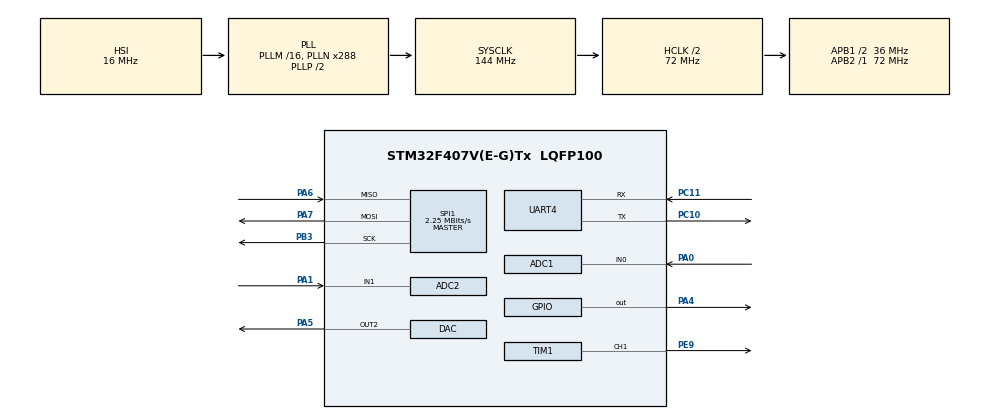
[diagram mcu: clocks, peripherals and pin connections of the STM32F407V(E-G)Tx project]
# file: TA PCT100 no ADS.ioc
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ADC1.Channel-0\#ChannelRegularConversion=ADC_CHANNEL_0
ADC1.ClockPrescaler=ADC_CLOCK_SYNC_PCLK_DIV4
ADC1.ContinuousConvMode=ENABLE
ADC1.NbrOfConversion=1
ADC1.NbrOfConversionFlag=1
ADC1.Rank-0\#ChannelRegularConversion=1
ADC1.SamplingTime-0\#ChannelRegularConversion=ADC_SAMPLETIME_3CYCLES
ADC1.ScanConvMode=ENABLE
ADC1.master=1
ADC2.Channel-1\#ChannelRegularConversion=ADC_CHANNEL_1
ADC2.ClockPrescaler=ADC_CLOCK_SYNC_PCLK_DIV4
ADC2.NbrOfConversionFlag=1
ADC2.Rank-1\#ChannelRegularConversion=1
ADC2.SamplingTime-1\#ChannelRegularConversion=ADC_SAMPLETIME_3CYCLES
ADC2.ScanConvMode=ENABLE
Dma.ADC1.0.Direction=DMA_PERIPH_TO_MEMORY
Dma.ADC1.0.FIFOMode=DMA_FIFOMODE_DISABLE
Dma.ADC1.0.Instance=DMA2_Stream0
Dma.ADC1.0.MemDataAlignment=DMA_MDATAALIGN_HALFWORD
Dma.ADC1.0.MemInc=DMA_MINC_ENABLE
Dma.ADC1.0.Mode=DMA_CIRCULAR
Dma.ADC1.0.PeriphDataAlignment=DMA_PDATAALIGN_HALFWORD
Dma.ADC1.0.PeriphInc=DMA_PINC_DISABLE
Dma.ADC1.0.Priority=DMA_PRIORITY_LOW
Dma.Request0=ADC1
Mcu.Family=STM32F4
Mcu.Name=STM32F407V(E-G)Tx
Mcu.Package=LQFP100
NVIC.DMA2_Stream0_IRQn=true\:0\:0\:false\:false\:true\:false\:true
NVIC.PriorityGroup=NVIC_PRIORITYGROUP_4
PA0-WKUP.Signal=ADCx_IN0
PA1.Signal=ADCx_IN1
PA13.Mode=Serial_Wire
PA13.Signal=SYS_JTMS-SWDIO
PA14.Mode=Serial_Wire
PA14.Signal=SYS_JTCK-SWCLK
PA4.GPIO_PuPd=GPIO_PULLDOWN
PA4.Signal=GPIO_Output
PA5.Signal=COMP_DAC2_group
PA6.GPIO_PuPd=GPIO_PULLDOWN
PA6.Mode=Full_Duplex_Master
PA6.Signal=SPI1_MISO
PA7.GPIO_PuPd=GPIO_PULLDOWN
PA7.Mode=Full_Duplex_Master
PA7.Signal=SPI1_MOSI
PB3.GPIO_PuPd=GPIO_PULLDOWN
PB3.Mode=Full_Duplex_Master
PB3.Signal=SPI1_SCK
PC10.Mode=Asynchronous
PC10.Signal=UART4_TX
PC11.Mode=Asynchronous
PC11.Signal=UART4_RX
PE9.Signal=S_TIM1_CH1
PH0-OSC_IN.Mode=HSE-External-Oscillator
PH0-OSC_IN.Signal=RCC_OSC_IN
PH1-OSC_OUT.Mode=HSE-External-Oscillator
PH1-OSC_OUT.Signal=RCC_OSC_OUT
ProjectManager.HeapSize=0x200
ProjectManager.StackSize=0x400
ProjectManager.TargetToolchain=STM32CubeIDE
RCC.48MHZClocksFreq_Value=72000000
RCC.AHBCLKDivider=RCC_SYSCLK_DIV2
RCC.AHBFreq_Value=72000000
RCC.APB1CLKDivider=RCC_HCLK_DIV2
RCC.APB1Freq_Value=36000000
RCC.APB1TimFreq_Value=72000000
RCC.APB2Freq_Value=72000000
RCC.APB2TimFreq_Value=72000000
RCC.CortexFreq_Value=72000000
RCC.HCLKFreq_Value=72000000
RCC.HSE_VALUE=25000000
RCC.HSI_VALUE=16000000
RCC.LSE_VALUE=32768
RCC.PLLN=288
RCC.SYSCLKFreq_VALUE=144000000
RCC.SYSCLKSource=RCC_SYSCLKSOURCE_PLLCLK
RCC.VCOOutputFreq_Value=288000000
SH.ADCx_IN0.0=ADC1_IN0,IN0
SH.ADCx_IN1.0=ADC2_IN1,IN1
SH.COMP_DAC2_group.0=DAC_OUT2,DAC_OUT2
SH.S_TIM1_CH1.0=TIM1_CH1,PWM Generation1 CH1
SPI1.BaudRatePrescaler=SPI_BAUDRATEPRESCALER_32
SPI1.CalculateBaudRate=2.25 MBits/s
SPI1.Direction=SPI_DIRECTION_2LINES
SPI1.Mode=SPI_MODE_MASTER
SPI1.VirtualType=VM_MASTER
TIM1.AutoReloadPreload=TIM_AUTORELOAD_PRELOAD_DISABLE
TIM1.Channel-PWM\ Generation1\ CH1=TIM_CHANNEL_1
TIM1.ClockDivision=TIM_CLOCKDIVISION_DIV1
TIM1.OC1Preload_PWM=ENABLE
TIM1.Period=999
TIM1.Prescaler=71
TIM1.Pulse-PWM\ Generation1\ CH1=500
TIM1.RepetitionCounter=3
UART4.VirtualMode=Asynchronous
VP_FATFS_VS_Generic.Mode=User_defined
VP_TIM1_VS_ClockSourceINT.Mode=Internal
board=custom

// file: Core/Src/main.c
/* USER CODE BEGIN Header */
/**
  ******************************************************************************
  * @file           : main.c
  * @brief          : Main program body
  ******************************************************************************
  * @attention
  *
  * Copyright (c) 2023 STMicroelectronics.
  * All rights reserved.
  *
  * This software is licensed under terms that can be found in the LICENSE file
  * in the root directory of this software component.
  * If no LICENSE file comes with this software, it is provided AS-IS.
  *
  ******************************************************************************
  */
/* USER CODE END Header */
#include "main.h"
#include "fatfs.h"

/* USER CODE BEGIN Includes */
#include "stm32f4xx_hal.h"
#include "fatfs_sd.h"
#include "string.h"
#include "stdio.h"

//FATFS fs;
//FIL fil;
//SPI_HandleTypeDef hspi1;
/* USER CODE END Includes */

ADC_HandleTypeDef hadc1;
ADC_HandleTypeDef hadc2;
DMA_HandleTypeDef hdma_adc1;

DAC_HandleTypeDef hdac;

SPI_HandleTypeDef hspi1;

TIM_HandleTypeDef htim1;

UART_HandleTypeDef huart4;

void SystemClock_Config(void);
static void MX_GPIO_Init(void);
static void MX_DMA_Init(void);
static void MX_ADC1_Init(void);
static void MX_ADC2_Init(void);
static void MX_DAC_Init(void);
static void MX_TIM1_Init(void);
static void MX_SPI1_Init(void);
static void MX_UART4_Init(void);

/* USER CODE BEGIN 0 */

FATFS fs;  // file system
FIL fil; // File
FILINFO fno;
FRESULT fresult;  // result
UINT br, bw;  // File read/write count

/**** capacity related *****/
FATFS *pfs;
DWORD fre_clust;
uint32_t total, free_space;

#define BUFFER_SIZE 128
char buffer[BUFFER_SIZE];  // to store strings..

int i=0;

int bufsize (char *buf)
{
	int i=0;
	while (*buf++ != '\0') i++;
	return i;
}

void clear_buffer (void)
{
	for (int i=0; i<BUFFER_SIZE; i++) buffer[i] = '\0';
}

void send_uart (char *string)
{
	uint8_t len = strlen (string);
	HAL_UART_Transmit(&huart4, (uint8_t *) string, len, HAL_MAX_DELAY);  // transmit in blocking mode
}

int value1, value2, DAC_OUT;
float Vout=0.00;
uint16_t adc_value; // variable for reading the ADC value
//TIM_OC_InitTypeDef sConfigOC; //declaration of TIMER structure

// Call Back for ADC Interrupt
//void HAL_ADC_ConvCpltCallback(ADC_HandleTypeDef* hadc)
//{
// adc_value = HAL_ADC_GetValue(&hadc1); // read ADC value
//
//__HAL_TIM_SET_COMPARE(&htim1, TIM_CHANNEL_1, adc_value); // Configure the new value of the pulse (duty cycle)
//
//HAL_ADC_Start_IT(hadc); // This is for  restart ADC conversion because we used:
//						// CONTINUOUS CONVERSION MODE -> DISABLE
//						// in CUBEMX configuration tab.
//}

/* USER CODE END 0 */

int main(void)
{
  /* USER CODE BEGIN 1 */
//	int32_t CH1_DC;
  /* USER CODE END 1 */

  /* MCU Configuration--------------------------------------------------------*/

  /* Reset of all peripherals, Initializes the Flash interface and the Systick. */
  HAL_Init();

  /* Configure the system clock */
  SystemClock_Config();

  /* Initialize all configured peripherals */
  MX_GPIO_Init();
  MX_DMA_Init();
  MX_ADC1_Init();
  MX_ADC2_Init();
  MX_DAC_Init();
  MX_TIM1_Init();
  MX_SPI1_Init();
  MX_FATFS_Init();
  MX_UART4_Init();
  /* USER CODE BEGIN 2 */
//  HAL_TIM_PWM_Start(&htim1, TIM_CHANNEL_1);
//  HAL_TIM_PWM_Start(&htim14, TIM_CHANNEL_1); // Start TIMER n.14
//  HAL_ADC_Start_IT(&hadc1); // Start ADC in Interrupt
  HAL_TIM_PWM_Start(&htim1, TIM_CHANNEL_1);
  	    fresult = f_mount(&fs, "/", 1);
  	    sprintf (buffer, "fresult: \t%lu\n\n",fresult);
  	    send_uart(buffer);

    	if (fresult != FR_OK) send_uart ("ERROR!!! in mounting SD CARD...\n\n");
    	else send_uart("SD CARD mounted successfully...\n\n");

    	/*************** Card capacity details ********************/

    	/* Check free space */
    	f_getfree("", &fre_clust, &pfs);

    	total = (uint32_t)((pfs->n_fatent - 2) * pfs->csize * 0.5);
    	sprintf (buffer, "SD CARD Total Size: \t%lu\n",total);
    	send_uart(buffer);
    	clear_buffer();
    	free_space = (uint32_t)(fre_clust * pfs->csize * 0.5);
    	sprintf (buffer, "SD CARD Free Space: \t%lu\n\n",free_space);
    	send_uart(buffer);
    	clear_buffer();

    	/************* The following operation is using PUTS and GETS *********************/

    	/* Open file to write/ create a file if it doesn't exist */
        fresult = f_open(&fil, "file1.txt", FA_OPEN_ALWAYS | FA_READ | FA_WRITE);

    	/* Writing text */
    	f_puts("This data is from the FILE1.txt. And it was written using ...f_puts... ", &fil);

    	/* Close file */
    	fresult = f_close(&fil);

    	if (fresult == FR_OK)send_uart ("File1.txt created and the data is written \n");

    	/* Open file to read */
    	fresult = f_open(&fil, "file1.txt", FA_READ);

    	/* Read string from the file */
    	f_gets(buffer, f_size(&fil), &fil);

    	send_uart("File1.txt is opened and it contains the data as shown below\n");
    	send_uart(buffer);
    	send_uart("\n\n");

    	/* Close file */
    	f_close(&fil);

    	clear_buffer();

    	/**************** The following operation is using f_write and f_read **************************/

    	/* Create second file with read write access and open it */
    	fresult = f_open(&fil, "file2.txt", FA_CREATE_ALWAYS | FA_WRITE);

    	/* Writing text */
    	strcpy (buffer, "This is File2.txt, written using ...f_write... and it says Hello from Controllerstech\n");

    	fresult = f_write(&fil, buffer, bufsize(buffer), &bw);

    	send_uart ("File2.txt created and data is written\n");

    	/* Close file */
    	f_close(&fil);

    	// clearing buffer to show that result obtained is from the file
    	clear_buffer();

    	/* Open second file to read */
    	fresult = f_open(&fil, "file2.txt", FA_READ);
    	if (fresult == FR_OK)send_uart ("file2.txt is open and the data is shown below\n");

    	/* Read data from the file
    	 * Please see the function details for the arguments */
    	f_read (&fil, buffer, f_size(&fil), &br);
    	send_uart(buffer);
    	send_uart("\n\n");

    	/* Close file */
    	f_close(&fil);

    	clear_buffer();

    	/*********************UPDATING an existing file ***************************/

    	/* Open the file with write access */
    	fresult = f_open(&fil, "file2.txt", FA_OPEN_EXISTING | FA_READ | FA_WRITE);

    	/* Move to offset to the end of the file */
    	fresult = f_lseek(&fil, f_size(&fil));

    	if (fresult == FR_OK)send_uart ("About to update the file2.txt\n");

    	/* write the string to the file */
    	fresult = f_puts("This is updated data and it should be in the end", &fil);

    	f_close (&fil);

    	clear_buffer();

    	/* Open to read the file */
    	fresult = f_open (&fil, "file2.txt", FA_READ);

    	/* Read string from the file */
    	fresult = f_read (&fil, buffer, f_size(&fil), &br);
    	if (fresult == FR_OK)send_uart ("Below is the data from updated file2.txt\n");
    	send_uart(buffer);
    	send_uart("\n\n");

    	/* Close file */
    	f_close(&fil);

    	clear_buffer();

    	/*************************REMOVING FILES FROM THE DIRECTORY ****************************/

    	fresult = f_unlink("/file1.txt");
    	if (fresult == FR_OK) send_uart("file1.txt removed successfully...\n");

    	fresult = f_unlink("/file2.txt");
    	if (fresult == FR_OK) send_uart("file2.txt removed successfully...\n");

    	/* Unmount SDCARD */
    	fresult = f_mount(NULL, "/", 1);
    	if (fresult == FR_OK) send_uart ("SD CARD UNMOUNTED successfully...\n");

  /* USER CODE END 2 */

  /* Infinite loop */
  while (1)
  {

    /* USER CODE BEGIN 3 */

	  HAL_ADC_Start(&hadc1);
	  HAL_ADC_PollForConversion(&hadc1, HAL_MAX_DELAY);
	  value1 = HAL_ADC_GetValue(&hadc1);
	  Vout = value1*10/4096;
	  DAC_OUT=4096-value1;
//	  HAL_DAC_Start(&hdac, DAC_CHANNEL_1);
	  HAL_DAC_SetValue(&hdac, DAC_CHANNEL_1, DAC_ALIGN_12B_R, DAC_OUT);
	  HAL_ADC_Start(&hadc2);
	  HAL_ADC_PollForConversion(&hadc2, HAL_MAX_DELAY);
	  value2 = HAL_ADC_GetValue(&hadc2);

	  HAL_Delay(500);
	  HAL_DAC_Stop(&hdac, DAC_CHANNEL_1);
	  uint16_t PWM_OUT = value1*999/4096;
	  htim1.Instance->CCR1 = PWM_OUT ;
//	  while(CH1_DC < 65535)
//	  {
//		  TIM1 -> CCR1 = CH1_DC;
//		  CH1_DC += 70;
//		  HAL_Delay(1);
//	  }
//	  while(CH1_DC > 0)
//	  {
//		  TIM1 -> CCR1 = CH1_DC;
//		  CH1_DC -= 70;
//		  HAL_Delay(1);
//	  }

  }
  /* USER CODE END 3 */
}

void SystemClock_Config(void)
{
  RCC_OscInitTypeDef RCC_OscInitStruct = {0};
  RCC_ClkInitTypeDef RCC_ClkInitStruct = {0};

  /** Configure the main internal regulator output voltage
  */
  __HAL_RCC_PWR_CLK_ENABLE();
  __HAL_PWR_VOLTAGESCALING_CONFIG(PWR_REGULATOR_VOLTAGE_SCALE1);
  /** Initializes the RCC Oscillators according to the specified parameters
  * in the RCC_OscInitTypeDef structure.
  */
  RCC_OscInitStruct.OscillatorType = RCC_OSCILLATORTYPE_HSI;
  RCC_OscInitStruct.HSIState = RCC_HSI_ON;
  RCC_OscInitStruct.HSICalibrationValue = RCC_HSICALIBRATION_DEFAULT;
  RCC_OscInitStruct.PLL.PLLState = RCC_PLL_ON;
  RCC_OscInitStruct.PLL.PLLSource = RCC_PLLSOURCE_HSI;
  RCC_OscInitStruct.PLL.PLLM = 16;
  RCC_OscInitStruct.PLL.PLLN = 288;
  RCC_OscInitStruct.PLL.PLLP = RCC_PLLP_DIV2;
  RCC_OscInitStruct.PLL.PLLQ = 4;
  if (HAL_RCC_OscConfig(&RCC_OscInitStruct) != HAL_OK)
  {
    Error_Handler();
  }
  /** Initializes the CPU, AHB and APB buses clocks
  */
  RCC_ClkInitStruct.ClockType = RCC_CLOCKTYPE_HCLK|RCC_CLOCKTYPE_SYSCLK
                              |RCC_CLOCKTYPE_PCLK1|RCC_CLOCKTYPE_PCLK2;
  RCC_ClkInitStruct.SYSCLKSource = RCC_SYSCLKSOURCE_PLLCLK;
  RCC_ClkInitStruct.AHBCLKDivider = RCC_SYSCLK_DIV2;
  RCC_ClkInitStruct.APB1CLKDivider = RCC_HCLK_DIV2;
  RCC_ClkInitStruct.APB2CLKDivider = RCC_HCLK_DIV1;

  if (HAL_RCC_ClockConfig(&RCC_ClkInitStruct, FLASH_LATENCY_2) != HAL_OK)
  {
    Error_Handler();
  }
}

static void MX_ADC1_Init(void)
{

  ADC_ChannelConfTypeDef sConfig = {0};

  /** Configure the global features of the ADC (Clock, Resolution, Data Alignment and number of conversion)
  */
  hadc1.Instance = ADC1;
  hadc1.Init.ClockPrescaler = ADC_CLOCK_SYNC_PCLK_DIV4;
  hadc1.Init.Resolution = ADC_RESOLUTION_12B;
  hadc1.Init.ScanConvMode = ENABLE;
  hadc1.Init.ContinuousConvMode = ENABLE;
  hadc1.Init.DiscontinuousConvMode = DISABLE;
  hadc1.Init.ExternalTrigConvEdge = ADC_EXTERNALTRIGCONVEDGE_NONE;
  hadc1.Init.ExternalTrigConv = ADC_SOFTWARE_START;
  hadc1.Init.DataAlign = ADC_DATAALIGN_RIGHT;
  hadc1.Init.NbrOfConversion = 1;
  hadc1.Init.DMAContinuousRequests = DISABLE;
  hadc1.Init.EOCSelection = ADC_EOC_SINGLE_CONV;
  if (HAL_ADC_Init(&hadc1) != HAL_OK)
  {
    Error_Handler();
  }
  /** Configure for the selected ADC regular channel its corresponding rank in the sequencer and its sample time.
  */
  sConfig.Channel = ADC_CHANNEL_0;
  sConfig.Rank = 1;
  sConfig.SamplingTime = ADC_SAMPLETIME_3CYCLES;
  if (HAL_ADC_ConfigChannel(&hadc1, &sConfig) != HAL_OK)
  {
    Error_Handler();
  }

}

static void MX_ADC2_Init(void)
{

  ADC_ChannelConfTypeDef sConfig = {0};

  /** Configure the global features of the ADC (Clock, Resolution, Data Alignment and number of conversion)
  */
  hadc2.Instance = ADC2;
  hadc2.Init.ClockPrescaler = ADC_CLOCK_SYNC_PCLK_DIV4;
  hadc2.Init.Resolution = ADC_RESOLUTION_12B;
  hadc2.Init.ScanConvMode = ENABLE;
  hadc2.Init.ContinuousConvMode = ENABLE;
  hadc2.Init.DiscontinuousConvMode = DISABLE;
  hadc2.Init.ExternalTrigConvEdge = ADC_EXTERNALTRIGCONVEDGE_NONE;
  hadc2.Init.ExternalTrigConv = ADC_SOFTWARE_START;
  hadc2.Init.DataAlign = ADC_DATAALIGN_RIGHT;
  hadc2.Init.NbrOfConversion = 1;
  hadc2.Init.DMAContinuousRequests = DISABLE;
  hadc2.Init.EOCSelection = ADC_EOC_SINGLE_CONV;
  if (HAL_ADC_Init(&hadc2) != HAL_OK)
  {
    Error_Handler();
  }
  /** Configure for the selected ADC regular channel its corresponding rank in the sequencer and its sample time.
  */
  sConfig.Channel = ADC_CHANNEL_1;
  sConfig.Rank = 1;
  sConfig.SamplingTime = ADC_SAMPLETIME_3CYCLES;
  if (HAL_ADC_ConfigChannel(&hadc2, &sConfig) != HAL_OK)
  {
    Error_Handler();
  }

}

static void MX_DAC_Init(void)
{

  DAC_ChannelConfTypeDef sConfig = {0};

  /** DAC Initialization
  */
  hdac.Instance = DAC;
  if (HAL_DAC_Init(&hdac) != HAL_OK)
  {
    Error_Handler();
  }
  /** DAC channel OUT2 config
  */
  sConfig.DAC_Trigger = DAC_TRIGGER_NONE;
  sConfig.DAC_OutputBuffer = DAC_OUTPUTBUFFER_ENABLE;
  if (HAL_DAC_ConfigChannel(&hdac, &sConfig, DAC_CHANNEL_2) != HAL_OK)
  {
    Error_Handler();
  }

}

static void MX_SPI1_Init(void)
{

  /* SPI1 parameter configuration*/
  hspi1.Instance = SPI1;
  hspi1.Init.Mode = SPI_MODE_MASTER;
  hspi1.Init.Direction = SPI_DIRECTION_2LINES;
  hspi1.Init.DataSize = SPI_DATASIZE_8BIT;
  hspi1.Init.CLKPolarity = SPI_POLARITY_LOW;
  hspi1.Init.CLKPhase = SPI_PHASE_1EDGE;
  hspi1.Init.NSS = SPI_NSS_SOFT;
  hspi1.Init.BaudRatePrescaler = SPI_BAUDRATEPRESCALER_32;
  hspi1.Init.FirstBit = SPI_FIRSTBIT_MSB;
  hspi1.Init.TIMode = SPI_TIMODE_DISABLE;
  hspi1.Init.CRCCalculation = SPI_CRCCALCULATION_DISABLE;
  hspi1.Init.CRCPolynomial = 10;
  if (HAL_SPI_Init(&hspi1) != HAL_OK)
  {
    Error_Handler();
  }

}

static void MX_TIM1_Init(void)
{

  TIM_ClockConfigTypeDef sClockSourceConfig = {0};
  TIM_MasterConfigTypeDef sMasterConfig = {0};
  TIM_OC_InitTypeDef sConfigOC = {0};
  TIM_BreakDeadTimeConfigTypeDef sBreakDeadTimeConfig = {0};

  htim1.Instance = TIM1;
  htim1.Init.Prescaler = 71;
  htim1.Init.CounterMode = TIM_COUNTERMODE_UP;
  htim1.Init.Period = 999;
  htim1.Init.ClockDivision = TIM_CLOCKDIVISION_DIV1;
  htim1.Init.RepetitionCounter = 3;
  htim1.Init.AutoReloadPreload = TIM_AUTORELOAD_PRELOAD_DISABLE;
  if (HAL_TIM_Base_Init(&htim1) != HAL_OK)
  {
    Error_Handler();
  }
  sClockSourceConfig.ClockSource = TIM_CLOCKSOURCE_INTERNAL;
  if (HAL_TIM_ConfigClockSource(&htim1, &sClockSourceConfig) != HAL_OK)
  {
    Error_Handler();
  }
  if (HAL_TIM_PWM_Init(&htim1) != HAL_OK)
  {
    Error_Handler();
  }
  sMasterConfig.MasterOutputTrigger = TIM_TRGO_RESET;
  sMasterConfig.MasterSlaveMode = TIM_MASTERSLAVEMODE_DISABLE;
  if (HAL_TIMEx_MasterConfigSynchronization(&htim1, &sMasterConfig) != HAL_OK)
  {
    Error_Handler();
  }
  sConfigOC.OCMode = TIM_OCMODE_PWM1;
  sConfigOC.Pulse = 500;
  sConfigOC.OCPolarity = TIM_OCPOLARITY_HIGH;
  sConfigOC.OCNPolarity = TIM_OCNPOLARITY_HIGH;
  sConfigOC.OCFastMode = TIM_OCFAST_DISABLE;
  sConfigOC.OCIdleState = TIM_OCIDLESTATE_RESET;
  sConfigOC.OCNIdleState = TIM_OCNIDLESTATE_RESET;
  if (HAL_TIM_PWM_ConfigChannel(&htim1, &sConfigOC, TIM_CHANNEL_1) != HAL_OK)
  {
    Error_Handler();
  }
  sBreakDeadTimeConfig.OffStateRunMode = TIM_OSSR_DISABLE;
  sBreakDeadTimeConfig.OffStateIDLEMode = TIM_OSSI_DISABLE;
  sBreakDeadTimeConfig.LockLevel = TIM_LOCKLEVEL_OFF;
  sBreakDeadTimeConfig.DeadTime = 0;
  sBreakDeadTimeConfig.BreakState = TIM_BREAK_DISABLE;
  sBreakDeadTimeConfig.BreakPolarity = TIM_BREAKPOLARITY_HIGH;
  sBreakDeadTimeConfig.AutomaticOutput = TIM_AUTOMATICOUTPUT_DISABLE;
  if (HAL_TIMEx_ConfigBreakDeadTime(&htim1, &sBreakDeadTimeConfig) != HAL_OK)
  {
    Error_Handler();
  }
  HAL_TIM_MspPostInit(&htim1);

}

static void MX_UART4_Init(void)
{

  huart4.Instance = UART4;
  huart4.Init.BaudRate = 115200;
  huart4.Init.WordLength = UART_WORDLENGTH_8B;
  huart4.Init.StopBits = UART_STOPBITS_1;
  huart4.Init.Parity = UART_PARITY_NONE;
  huart4.Init.Mode = UART_MODE_TX_RX;
  huart4.Init.HwFlowCtl = UART_HWCONTROL_NONE;
  huart4.Init.OverSampling = UART_OVERSAMPLING_16;
  if (HAL_UART_Init(&huart4) != HAL_OK)
  {
    Error_Handler();
  }

}

static void MX_DMA_Init(void)
{

  /* DMA controller clock enable */
  __HAL_RCC_DMA2_CLK_ENABLE();

  /* DMA interrupt init */
  /* DMA2_Stream0_IRQn interrupt configuration */
  HAL_NVIC_SetPriority(DMA2_Stream0_IRQn, 0, 0);
  HAL_NVIC_EnableIRQ(DMA2_Stream0_IRQn);

}

static void MX_GPIO_Init(void)
{
  GPIO_InitTypeDef GPIO_InitStruct = {0};

  /* GPIO Ports Clock Enable */
  __HAL_RCC_GPIOH_CLK_ENABLE();
  __HAL_RCC_GPIOA_CLK_ENABLE();
  __HAL_RCC_GPIOE_CLK_ENABLE();
  __HAL_RCC_GPIOC_CLK_ENABLE();
  __HAL_RCC_GPIOB_CLK_ENABLE();

  /*Configure GPIO pin Output Level */
  HAL_GPIO_WritePin(GPIOA, GPIO_PIN_4, GPIO_PIN_RESET);

  /*Configure GPIO pin : PA4 */
  GPIO_InitStruct.Pin = GPIO_PIN_4;
  GPIO_InitStruct.Mode = GPIO_MODE_OUTPUT_PP;
  GPIO_InitStruct.Pull = GPIO_PULLDOWN;
  GPIO_InitStruct.Speed = GPIO_SPEED_FREQ_LOW;
  HAL_GPIO_Init(GPIOA, &GPIO_InitStruct);

}

void Error_Handler(void)
{
  __disable_irq();
  while (1)
  {
  }
}
